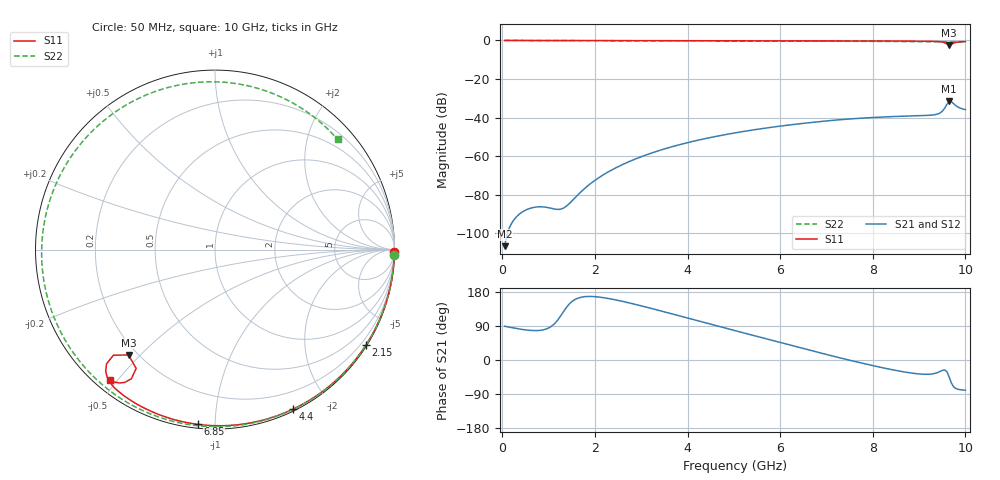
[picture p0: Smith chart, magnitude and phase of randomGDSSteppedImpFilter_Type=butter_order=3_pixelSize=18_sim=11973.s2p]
! freq	dB(S11)	phase(S11)	dB(S12)	phase(S12)
!  dB(S21)	phase(S21)	dB(S22)	phase(S22)
!S-par simulation data
#  GHz  S  DB  R 50
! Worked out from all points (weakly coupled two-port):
!   200 points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, 50 MHz to 10 GHz, reference 50 ohm
!   highest |S21| = -31.64 dB at 9.65 GHz (marker M1); lowest = -106.6 dB at 50 MHz (marker M2)
!   lowest |S11| = -2.4 dB at 9.65 GHz (marker M3), VSWR 7.31, Z = 8.34 - j23.1 ohm
!   |S11| at or under -10 dB: nowhere
!   |S22| runs from -0.7 to 0.0 dB; largest |S21 - S12| = 0
!   S11 on the Smith chart (normalised r, x): 50 MHz: open; 2.15 GHz: 0.03, -3.46; 4.4 GHz: 0.02, -1.60; 6.85 GHz: 0.02, -0.91; 10 GHz: 0.04, -0.48
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0.05  -0.00 -0.8  -106.65 89.0  -106.65 89.0  -0.00 -1.6
0.8  -0.01 -12.2  -86.23 78.1  -86.23 78.1  -0.03 -25.8
1.6  -0.03 -24.1  -80.79 161.5  -80.79 161.5  -0.06 -50.9
1.75  -0.03 -26.4  -77.34 166.7  -77.34 166.7  -0.07 -55.5
2.15  -0.04 -32.2  -70.12 165.1  -70.12 165.1  -0.09 -67.6
2.7  -0.05 -40.2  -63.20 151.8  -63.20 151.8  -0.11 -83.6
3.4  -0.07 -50.2  -56.97 130.3  -56.97 130.3  -0.13 -103.3
4.4  -0.09 -64.0  -50.79 97.7  -50.79 97.7  -0.18 -130.5
5.05  -0.11 -72.7  -47.81 76.6  -47.81 76.6  -0.21 -147.8
5.9  -0.14 -83.7  -44.72 49.6  -44.72 49.6  -0.27 -170.9
6.7  -0.18 -93.7  -42.46 24.0  -42.46 24.0  -0.34 166.2
6.85  -0.19 -95.6  -42.08 19.2  -42.08 19.2  -0.36 161.7
7.6  -0.24 -104.8  -40.53 -3.5  -40.53 -3.5  -0.43 137.9
8.35  -0.29 -113.9  -39.54 -23.9  -39.54 -23.9  -0.52 111.4
8.9  -0.35 -120.9  -39.08 -35.5  -39.08 -35.5  -0.59 89.9
9.4  -0.55 -129.1  -38.15 -33.1  -38.15 -33.1  -0.66 68.8
9.5  -0.81 -131.9  -36.74 -27.5  -36.74 -27.5  -0.67 64.4
9.55  -1.13 -133.5  -35.24 -26.1  -35.24 -26.1  -0.68 62.2
9.65  -2.39 -129.3  -31.64 -44.9  -31.64 -44.9  -0.69 57.7
9.7  -2.00 -123.6  -31.81 -61.5  -31.81 -61.5  -0.70 55.5
9.8  -0.97 -124.2  -33.92 -75.6  -33.92 -75.6  -0.71 51.0
10  -0.59 -129.0  -35.83 -79.7  -35.83 -79.7  -0.74 42.0
